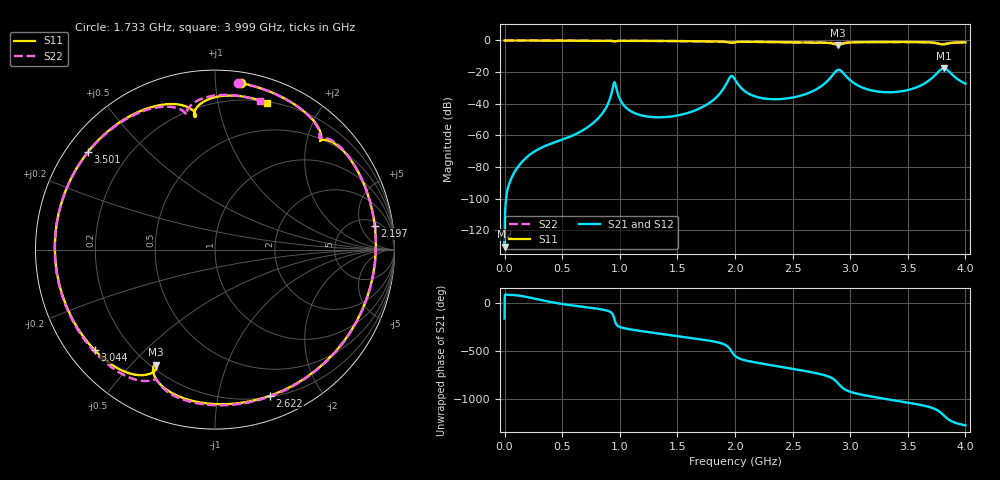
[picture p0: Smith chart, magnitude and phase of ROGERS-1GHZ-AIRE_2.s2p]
! TOUCHSTONE file generated by CST MICROWAVE STUDIO
! Date and time: Thu Oct 30 19:22:03 2025
! Project name: ResonadorAnillo_PadsGndDesplazados_AnchoPistaPin.cst
! Parameters = {Eeff=2.76858; Er=3.55; H=1.56; L1=45.0747; L2=45.0747; L_Ang=9; L_AngTrans=1; L_Base=6.5; L_PadGND=4; L_Pin=4; L_conn=4; L_sma=8.5; Landa=180.299; R_Diel=2.08; R_Pin=0.45; R_sma=2.58; T=0.035; W=3.3; W_Base=1.5; W_PadGND=1.8; W_PistaPin=2.4; W_conn=0.9; Wa=3.3; X=70; Y=122.745; c=3e+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
! Header version: 2024
! Port assignment regex: !\s*Touchstone port\s*([0-9]+)\s*=\s*(CST MWS port|CST DES external port|CST DES block port)\s*(.+)\s* \(\"(.*)\"\)(\s*mode\s*([0-9]+))?.*
! Touchstone port assignment:
! Touchstone port 1 = CST MWS port 1 ("")
! Touchstone port 2 = CST MWS port 2 ("")
# GHz S MA R 62.45
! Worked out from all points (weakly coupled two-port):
!   5000 points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, 800 kHz to 4 GHz, reference 62.45 ohm
!   highest |S21| = -17.59 dB at 3.812 GHz (marker M1); lowest = -130.2 dB at 1.6 MHz (marker M2)
!   lowest |S11| = -2.9 dB at 2.896 GHz (marker M3), VSWR 6.13, Z = 13.9 - j36.9 ohm
!   |S11| at or under -10 dB: nowhere
!   |S22| runs from -2.3 to 0.0 dB; largest |S21 - S12| = 4.7e-10
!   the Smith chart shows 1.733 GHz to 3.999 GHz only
!   S11 on the Smith chart (normalised r, x): 1.733 GHz: 0.07, +1.17; 2.197 GHz: 6, +9; 2.622 GHz: 0.21, -1.42; 3.044 GHz: 0.08, -0.36; 3.501 GHz: 0.06, +0.34; 3.999 GHz: 0.21, +1.39
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0.0008  1 -0.2  7.609e-07 -161.7  7.609e-07 -161.7  1 -0.2
0.0016  0.9999 -0.3  3.073e-07 14.9  3.073e-07 14.9  0.9999 -0.3
0.1112  0.9974 -22.0  9.488e-05 80.7  9.488e-05 80.7  0.9974 -21.9
0.348  0.9914 -67.2  0.0004548 24.0  0.0004548 24.0  0.9915 -67.0
0.668  0.9842 -122.7  0.001372 -36.5  0.001372 -36.5  0.9843 -122.2
0.8512  0.9798 -151.8  0.005076 -68.2  0.005076 -68.2  0.98 -150.9
0.9536  0.9303 -166.8  0.0478 -167.0  0.0478 -167.0  0.9302 -165.9
1.0784  0.9743 175.3  0.00641 88.4  0.00641 88.4  0.9744 176.4
1.3344  0.9652 138.8  0.003735 42.7  0.003735 42.7  0.9654 140.0
1.7328  0.939 81.1  0.008414 -23.6  0.008414 -23.6  0.9393 82.3
1.9608  0.8453 46.0  0.07242 -126.7  0.07242 -126.7  0.8541 47.1
2.0008  0.8817 43.3  0.05789 168.4  0.05789 168.4  0.8858 44.0
2.1968  0.9 8.5  0.01615 96.0  0.01615 96.0  0.9008 9.5
2.6224  0.8699 -69.3  0.02074 7.8  0.02074 7.8  0.8743 -66.9
2.6672  0.8669 -77.9  0.02422 -2.6  0.02422 -2.6  0.8724 -75.2
2.896  0.7193 -117.0  0.1181 -119.5  0.1181 -119.5  0.7926 -114.4
3.044  0.8736 -140.1  0.04226 138.8  0.04226 138.8  0.8795 -138.2
3.3336  0.8937 169.6  0.02305 74.2  0.02305 74.2  0.8937 173.4
3.5008  0.8929 142.6  0.02715 40.9  0.02715 40.9  0.8927 146.8
3.812  0.7476 98.7  0.132 -92.4  0.132 -92.4  0.7694 102.1
3.9992  0.8676 70.7  0.04333 162.5  0.04333 162.5  0.8653 73.3
4  0.8676 70.5  0.0432 162.3  0.0432 162.3  0.8653 73.2
